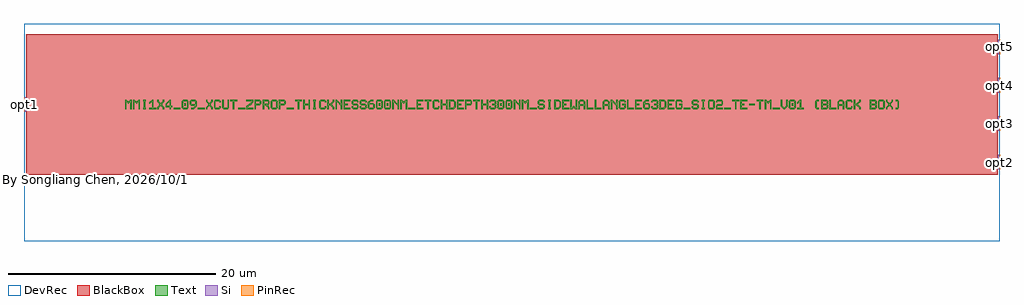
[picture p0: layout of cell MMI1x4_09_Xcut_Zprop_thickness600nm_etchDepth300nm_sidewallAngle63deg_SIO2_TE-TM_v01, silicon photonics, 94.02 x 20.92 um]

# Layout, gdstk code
import gdstk
lib = gdstk.Library(unit=1e-6, precision=1e-10)
def R(c, l, rs):  # rectangles x0, y0, x1, y1
    for r in rs: c.add(gdstk.rectangle(r[:2], r[2:], *l))
def A(c, l, x, y, w, h, nx, ny, dx, dy):  # array of equal rectangles
    R(c, l, [(x+i*dx, y+j*dy, x+i*dx+w, y+j*dy+h) for i in range(nx) for j in range(ny)])
def P(c, l, *ps):  # polygons
    for p in ps: c.add(gdstk.Polygon(p, *l))
Si = (1, 0)
PinRec = (1, 10)
Text = (10, 0)
DevRec = (68, 0)
BlackBox = (998, 0)

text = lib.new_cell('TEXT')
A(text, Text, 15.6, 0, 0.65, 0.13, 3, 1, 11.7, 0)
R(text, Text, [(4.68,0,5.33,0.13), (7.02,0,7.67,0.13), (10.92,0,11.57,0.13), (53.82,0,54.47,0.13), (57.72,0,58.37,0.13), (62.4,0,63.05,0.13), (5.72,0.325,5.85,0.585), (24.44,0.325,24.57,0.585), (25.22,0.325,25.35,0.585), (36.14,0.325,36.27,0.585), (36.92,0.325,37.05,0.585), (64.22,0.325,64.35,0.585), (60.125,0.39,60.645,0.52)])
P(text, Text, [(0,0),(0,0.91),(0.13,0.91),(0.26,0.78),(0.39,0.78),(0.52,0.91),(0.65,0.91),(0.65,0),(0.52,0),(0.52,0.65),(0.455,0.65),(0.325,0.52),(0.195,0.65),(0.13,0.65),(0.13,0)],
  [(0.78,0),(0.78,0.91),(0.91,0.91),(1.04,0.78),(1.17,0.78),(1.3,0.91),(1.43,0.91),(1.43,0),(1.3,0),(1.3,0.65),(1.235,0.65),(1.105,0.52),(0.975,0.65),(0.91,0.65),(0.91,0)],
  [(1.755,0),(1.755,0.13),(1.82,0.13),(1.82,0.78),(1.755,0.78),(1.755,0.91),(2.015,0.91),(2.015,0.78),(1.95,0.78),(1.95,0.13),(2.015,0.13),(2.015,0)],
  [(2.34,0),(2.34,0.13),(2.6,0.13),(2.6,0.65),(2.535,0.65),(2.405,0.52),(2.34,0.52),(2.34,0.65),(2.6,0.91),(2.73,0.91),(2.73,0.13),(2.99,0.13),(2.99,0)],
  [(3.12,0),(3.12,0.195),(3.315,0.39),(3.315,0.52),(3.12,0.715),(3.12,0.91),(3.25,0.91),(3.25,0.78),(3.445,0.585),(3.64,0.78),(3.64,0.91),(3.77,0.91),(3.77,0.715),(3.575,0.52),(3.575,0.39),(3.77,0.195),(3.77,0),(3.64,0),(3.64,0.13),(3.445,0.325),(3.25,0.13),(3.25,0)],
  [(4.29,0),(4.29,0.195),(3.9,0.195),(3.9,0.325),(4.29,0.325),(4.29,0.65),(4.225,0.65),(4.03,0.455),(4.03,0.325),(3.9,0.325),(3.9,0.52),(4.29,0.91),(4.42,0.91),(4.42,0.325),(4.55,0.325),(4.55,0.195),(4.42,0.195),(4.42,0)],
  [(5.59,0),(5.46,0.13),(5.46,0.78),(5.59,0.91),(5.98,0.91),(6.11,0.78),(5.655,0.78),(5.59,0.715),(5.59,0.195),(5.655,0.13),(5.915,0.13),(5.98,0.195),(5.98,0.715),(5.915,0.78),(6.11,0.78),(6.11,0.13),(5.98,0)],
  [(6.37,0),(6.37,0.13),(6.565,0.13),(6.695,0.26),(6.695,0.325),(6.37,0.325),(6.24,0.455),(6.695,0.455),(6.76,0.52),(6.76,0.715),(6.695,0.78),(6.435,0.78),(6.37,0.715),(6.37,0.52),(6.435,0.455),(6.24,0.455),(6.24,0.78),(6.37,0.91),(6.76,0.91),(6.89,0.78),(6.89,0.26),(6.63,0)],
  [(7.8,0),(7.8,0.195),(7.995,0.39),(7.995,0.52),(7.8,0.715),(7.8,0.91),(7.93,0.91),(7.93,0.78),(8.125,0.585),(8.32,0.78),(8.32,0.91),(8.45,0.91),(8.45,0.715),(8.255,0.52),(8.255,0.39),(8.45,0.195),(8.45,0),(8.32,0),(8.32,0.13),(8.125,0.325),(7.93,0.13),(7.93,0)],
  [(8.71,0),(8.58,0.13),(8.58,0.78),(8.71,0.91),(9.1,0.91),(9.23,0.78),(9.23,0.65),(9.1,0.65),(9.1,0.715),(9.035,0.78),(8.775,0.78),(8.71,0.715),(8.71,0.195),(8.775,0.13),(9.035,0.13),(9.1,0.195),(9.1,0.26),(9.23,0.26),(9.23,0.13),(9.1,0)],
  [(9.49,0),(9.36,0.13),(9.36,0.91),(9.49,0.91),(9.49,0.195),(9.555,0.13),(9.815,0.13),(9.88,0.195),(9.88,0.91),(10.01,0.91),(10.01,0.13),(9.88,0)],
  [(10.4,0),(10.4,0.78),(10.14,0.78),(10.14,0.91),(10.79,0.91),(10.79,0.78),(10.53,0.78),(10.53,0)],
  [(11.7,0),(11.7,0.26),(11.96,0.52),(12.025,0.52),(12.22,0.715),(12.22,0.78),(11.7,0.78),(11.7,0.91),(12.35,0.91),(12.35,0.65),(12.09,0.39),(12.025,0.39),(11.83,0.195),(11.83,0.13),(12.35,0.13),(12.35,0)],
  [(12.48,0),(12.48,0.91),(13,0.91),(13.13,0.78),(13.13,0.52),(13,0.39),(12.61,0.39),(12.61,0.52),(12.935,0.52),(13,0.585),(13,0.715),(12.935,0.78),(12.61,0.78),(12.61,0)],
  [(13.26,0),(13.26,0.91),(13.78,0.91),(13.91,0.78),(13.39,0.78),(13.39,0.52),(13.715,0.52),(13.78,0.585),(13.78,0.715),(13.715,0.78),(13.91,0.78),(13.91,0.52),(13.78,0.39),(13.78,0.325),(13.91,0.195),(13.91,0),(13.78,0),(13.78,0.13),(13.52,0.39),(13.39,0.39),(13.39,0)],
  [(14.17,0),(14.04,0.13),(14.04,0.78),(14.17,0.91),(14.56,0.91),(14.69,0.78),(14.69,0.455),(14.56,0.455),(14.56,0.715),(14.495,0.78),(14.235,0.78),(14.17,0.715),(14.17,0.195),(14.235,0.13),(14.495,0.13),(14.56,0.195),(14.56,0.455),(14.69,0.455),(14.69,0.13),(14.56,0)],
  [(14.82,0),(14.82,0.91),(15.34,0.91),(15.47,0.78),(15.47,0.52),(15.34,0.39),(14.95,0.39),(14.95,0.52),(15.275,0.52),(15.34,0.585),(15.34,0.715),(15.275,0.78),(14.95,0.78),(14.95,0)],
  [(16.64,0),(16.64,0.78),(16.38,0.78),(16.38,0.91),(17.03,0.91),(17.03,0.78),(16.77,0.78),(16.77,0)],
  [(17.16,0),(17.16,0.91),(17.29,0.91),(17.29,0.52),(17.68,0.52),(17.68,0.91),(17.81,0.91),(17.81,0),(17.68,0),(17.68,0.39),(17.29,0.39),(17.29,0)],
  [(18.135,0),(18.135,0.13),(18.2,0.13),(18.2,0.78),(18.135,0.78),(18.135,0.91),(18.395,0.91),(18.395,0.78),(18.33,0.78),(18.33,0.13),(18.395,0.13),(18.395,0)],
  [(18.85,0),(18.72,0.13),(18.72,0.78),(18.85,0.91),(19.24,0.91),(19.37,0.78),(19.37,0.65),(19.24,0.65),(19.24,0.715),(19.175,0.78),(18.915,0.78),(18.85,0.715),(18.85,0.195),(18.915,0.13),(19.175,0.13),(19.24,0.195),(19.24,0.26),(19.37,0.26),(19.37,0.13),(19.24,0)],
  [(19.5,0),(19.5,0.91),(19.63,0.91),(19.63,0.52),(19.76,0.52),(20.02,0.78),(20.02,0.91),(20.15,0.91),(20.15,0.715),(19.89,0.455),(20.15,0.195),(20.15,0),(20.02,0),(20.02,0.13),(19.76,0.39),(19.63,0.39),(19.63,0)],
  [(20.28,0),(20.28,0.91),(20.41,0.91),(20.735,0.585),(20.8,0.585),(20.8,0.91),(20.93,0.91),(20.93,0),(20.8,0),(20.8,0.325),(20.475,0.65),(20.41,0.65),(20.41,0)],
  [(21.06,0),(21.06,0.91),(21.71,0.91),(21.71,0.78),(21.19,0.78),(21.19,0.52),(21.45,0.52),(21.45,0.39),(21.19,0.39),(21.19,0.13),(21.71,0.13),(21.71,0)],
  [(21.97,0),(21.84,0.13),(21.84,0.26),(21.97,0.26),(21.97,0.195),(22.035,0.13),(22.295,0.13),(22.36,0.195),(22.36,0.325),(22.295,0.39),(21.97,0.39),(21.84,0.52),(21.84,0.78),(21.97,0.91),(22.36,0.91),(22.49,0.78),(22.49,0.65),(22.36,0.65),(22.36,0.715),(22.295,0.78),(22.035,0.78),(21.97,0.715),(21.97,0.585),(22.035,0.52),(22.36,0.52),(22.49,0.39),(22.49,0.13),(22.36,0)],
  [(22.75,0),(22.62,0.13),(22.62,0.26),(22.75,0.26),(22.75,0.195),(22.815,0.13),(23.075,0.13),(23.14,0.195),(23.14,0.325),(23.075,0.39),(22.75,0.39),(22.62,0.52),(22.62,0.78),(22.75,0.91),(23.14,0.91),(23.27,0.78),(23.27,0.65),(23.14,0.65),(23.14,0.715),(23.075,0.78),(22.815,0.78),(22.75,0.715),(22.75,0.585),(22.815,0.52),(23.14,0.52),(23.27,0.39),(23.27,0.13),(23.14,0)],
  [(23.53,0),(23.4,0.13),(23.4,0.65),(23.66,0.91),(23.92,0.91),(23.92,0.78),(23.725,0.78),(23.595,0.65),(23.595,0.585),(23.92,0.585),(24.05,0.455),(23.595,0.455),(23.53,0.39),(23.53,0.195),(23.595,0.13),(23.855,0.13),(23.92,0.195),(23.92,0.39),(23.855,0.455),(24.05,0.455),(24.05,0.13),(23.92,0)],
  [(24.31,0),(24.18,0.13),(24.18,0.78),(24.31,0.91),(24.7,0.91),(24.83,0.78),(24.375,0.78),(24.31,0.715),(24.31,0.195),(24.375,0.13),(24.635,0.13),(24.7,0.195),(24.7,0.715),(24.635,0.78),(24.83,0.78),(24.83,0.13),(24.7,0)],
  [(25.09,0),(24.96,0.13),(24.96,0.78),(25.09,0.91),(25.48,0.91),(25.61,0.78),(25.155,0.78),(25.09,0.715),(25.09,0.195),(25.155,0.13),(25.415,0.13),(25.48,0.195),(25.48,0.715),(25.415,0.78),(25.61,0.78),(25.61,0.13),(25.48,0)],
  [(25.74,0),(25.74,0.91),(25.87,0.91),(26.195,0.585),(26.26,0.585),(26.26,0.91),(26.39,0.91),(26.39,0),(26.26,0),(26.26,0.325),(25.935,0.65),(25.87,0.65),(25.87,0)],
  [(26.52,0),(26.52,0.91),(26.65,0.91),(26.78,0.78),(26.91,0.78),(27.04,0.91),(27.17,0.91),(27.17,0),(27.04,0),(27.04,0.65),(26.975,0.65),(26.845,0.52),(26.715,0.65),(26.65,0.65),(26.65,0)],
  [(28.08,0),(28.08,0.91),(28.73,0.91),(28.73,0.78),(28.21,0.78),(28.21,0.52),(28.47,0.52),(28.47,0.39),(28.21,0.39),(28.21,0.13),(28.73,0.13),(28.73,0)],
  [(29.12,0),(29.12,0.78),(28.86,0.78),(28.86,0.91),(29.51,0.91),(29.51,0.78),(29.25,0.78),(29.25,0)],
  [(29.77,0),(29.64,0.13),(29.64,0.78),(29.77,0.91),(30.16,0.91),(30.29,0.78),(30.29,0.65),(30.16,0.65),(30.16,0.715),(30.095,0.78),(29.835,0.78),(29.77,0.715),(29.77,0.195),(29.835,0.13),(30.095,0.13),(30.16,0.195),(30.16,0.26),(30.29,0.26),(30.29,0.13),(30.16,0)],
  [(30.42,0),(30.42,0.91),(30.55,0.91),(30.55,0.52),(30.94,0.52),(30.94,0.91),(31.07,0.91),(31.07,0),(30.94,0),(30.94,0.39),(30.55,0.39),(30.55,0)],
  [(31.2,0),(31.2,0.91),(31.655,0.91),(31.785,0.78),(31.33,0.78),(31.33,0.13),(31.59,0.13),(31.72,0.26),(31.72,0.65),(31.59,0.78),(31.785,0.78),(31.85,0.715),(31.85,0.195),(31.655,0)],
  [(31.98,0),(31.98,0.91),(32.63,0.91),(32.63,0.78),(32.11,0.78),(32.11,0.52),(32.37,0.52),(32.37,0.39),(32.11,0.39),(32.11,0.13),(32.63,0.13),(32.63,0)],
  [(32.76,0),(32.76,0.91),(33.28,0.91),(33.41,0.78),(33.41,0.52),(33.28,0.39),(32.89,0.39),(32.89,0.52),(33.215,0.52),(33.28,0.585),(33.28,0.715),(33.215,0.78),(32.89,0.78),(32.89,0)],
  [(33.8,0),(33.8,0.78),(33.54,0.78),(33.54,0.91),(34.19,0.91),(34.19,0.78),(33.93,0.78),(33.93,0)],
  [(34.32,0),(34.32,0.91),(34.45,0.91),(34.45,0.52),(34.84,0.52),(34.84,0.91),(34.97,0.91),(34.97,0),(34.84,0),(34.84,0.39),(34.45,0.39),(34.45,0)],
  [(35.23,0),(35.1,0.13),(35.1,0.26),(35.23,0.26),(35.23,0.195),(35.295,0.13),(35.555,0.13),(35.62,0.195),(35.62,0.325),(35.555,0.39),(35.36,0.39),(35.36,0.52),(35.555,0.52),(35.62,0.585),(35.62,0.715),(35.555,0.78),(35.295,0.78),(35.23,0.715),(35.23,0.65),(35.1,0.65),(35.1,0.78),(35.23,0.91),(35.62,0.91),(35.75,0.78),(35.75,0.52),(35.685,0.455),(35.75,0.39),(35.75,0.13),(35.62,0)],
  [(36.01,0),(35.88,0.13),(35.88,0.78),(36.01,0.91),(36.4,0.91),(36.53,0.78),(36.075,0.78),(36.01,0.715),(36.01,0.195),(36.075,0.13),(36.335,0.13),(36.4,0.195),(36.4,0.715),(36.335,0.78),(36.53,0.78),(36.53,0.13),(36.4,0)],
  [(36.79,0),(36.66,0.13),(36.66,0.78),(36.79,0.91),(37.18,0.91),(37.31,0.78),(36.855,0.78),(36.79,0.715),(36.79,0.195),(36.855,0.13),(37.115,0.13),(37.18,0.195),(37.18,0.715),(37.115,0.78),(37.31,0.78),(37.31,0.13),(37.18,0)],
  [(37.44,0),(37.44,0.91),(37.57,0.91),(37.895,0.585),(37.96,0.585),(37.96,0.91),(38.09,0.91),(38.09,0),(37.96,0),(37.96,0.325),(37.635,0.65),(37.57,0.65),(37.57,0)],
  [(38.22,0),(38.22,0.91),(38.35,0.91),(38.48,0.78),(38.61,0.78),(38.74,0.91),(38.87,0.91),(38.87,0),(38.74,0),(38.74,0.65),(38.675,0.65),(38.545,0.52),(38.415,0.65),(38.35,0.65),(38.35,0)],
  [(39.91,0),(39.78,0.13),(39.78,0.26),(39.91,0.26),(39.91,0.195),(39.975,0.13),(40.235,0.13),(40.3,0.195),(40.3,0.325),(40.235,0.39),(39.91,0.39),(39.78,0.52),(39.78,0.78),(39.91,0.91),(40.3,0.91),(40.43,0.78),(40.43,0.65),(40.3,0.65),(40.3,0.715),(40.235,0.78),(39.975,0.78),(39.91,0.715),(39.91,0.585),(39.975,0.52),(40.3,0.52),(40.43,0.39),(40.43,0.13),(40.3,0)],
  [(40.755,0),(40.755,0.13),(40.82,0.13),(40.82,0.78),(40.755,0.78),(40.755,0.91),(41.015,0.91),(41.015,0.78),(40.95,0.78),(40.95,0.13),(41.015,0.13),(41.015,0)],
  [(41.34,0),(41.34,0.91),(41.795,0.91),(41.925,0.78),(41.47,0.78),(41.47,0.13),(41.73,0.13),(41.86,0.26),(41.86,0.65),(41.73,0.78),(41.925,0.78),(41.99,0.715),(41.99,0.195),(41.795,0)],
  [(42.12,0),(42.12,0.91),(42.77,0.91),(42.77,0.78),(42.25,0.78),(42.25,0.52),(42.51,0.52),(42.51,0.39),(42.25,0.39),(42.25,0.13),(42.77,0.13),(42.77,0)],
  [(42.9,0),(42.9,0.91),(43.03,0.91),(43.03,0.195),(43.095,0.195),(43.225,0.325),(43.355,0.195),(43.42,0.195),(43.42,0.91),(43.55,0.91),(43.55,0),(43.355,0),(43.225,0.13),(43.095,0)],
  [(43.68,0),(43.68,0.715),(43.875,0.91),(44.135,0.91),(44.265,0.78),(43.94,0.78),(43.81,0.65),(43.81,0.455),(44.2,0.455),(44.2,0.65),(44.07,0.78),(44.265,0.78),(44.33,0.715),(44.33,0),(44.2,0),(44.2,0.325),(43.81,0.325),(43.81,0)],
  [(44.46,0),(44.46,0.91),(44.59,0.91),(44.59,0.13),(45.11,0.13),(45.11,0)],
  [(45.24,0),(45.24,0.91),(45.37,0.91),(45.37,0.13),(45.89,0.13),(45.89,0)],
  [(46.02,0),(46.02,0.715),(46.215,0.91),(46.475,0.91),(46.605,0.78),(46.28,0.78),(46.15,0.65),(46.15,0.455),(46.54,0.455),(46.54,0.65),(46.41,0.78),(46.605,0.78),(46.67,0.715),(46.67,0),(46.54,0),(46.54,0.325),(46.15,0.325),(46.15,0)],
  [(46.8,0),(46.8,0.91),(46.93,0.91),(47.255,0.585),(47.32,0.585),(47.32,0.91),(47.45,0.91),(47.45,0),(47.32,0),(47.32,0.325),(46.995,0.65),(46.93,0.65),(46.93,0)],
  [(47.71,0),(47.58,0.13),(47.58,0.78),(47.71,0.91),(48.1,0.91),(48.23,0.78),(48.23,0.65),(48.1,0.65),(48.1,0.715),(48.035,0.78),(47.775,0.78),(47.71,0.715),(47.71,0.195),(47.775,0.13),(48.035,0.13),(48.1,0.195),(48.1,0.39),(47.905,0.39),(47.905,0.52),(48.23,0.52),(48.23,0.13),(48.1,0)],
  [(48.36,0),(48.36,0.91),(48.49,0.91),(48.49,0.13),(49.01,0.13),(49.01,0)],
  [(49.14,0),(49.14,0.91),(49.79,0.91),(49.79,0.78),(49.27,0.78),(49.27,0.52),(49.53,0.52),(49.53,0.39),(49.27,0.39),(49.27,0.13),(49.79,0.13),(49.79,0)],
  [(50.05,0),(49.92,0.13),(49.92,0.65),(50.18,0.91),(50.44,0.91),(50.44,0.78),(50.245,0.78),(50.115,0.65),(50.115,0.585),(50.44,0.585),(50.57,0.455),(50.115,0.455),(50.05,0.39),(50.05,0.195),(50.115,0.13),(50.375,0.13),(50.44,0.195),(50.44,0.39),(50.375,0.455),(50.57,0.455),(50.57,0.13),(50.44,0)],
  [(50.83,0),(50.7,0.13),(50.7,0.26),(50.83,0.26),(50.83,0.195),(50.895,0.13),(51.155,0.13),(51.22,0.195),(51.22,0.325),(51.155,0.39),(50.96,0.39),(50.96,0.52),(51.155,0.52),(51.22,0.585),(51.22,0.715),(51.155,0.78),(50.895,0.78),(50.83,0.715),(50.83,0.65),(50.7,0.65),(50.7,0.78),(50.83,0.91),(51.22,0.91),(51.35,0.78),(51.35,0.52),(51.285,0.455),(51.35,0.39),(51.35,0.13),(51.22,0)],
  [(51.48,0),(51.48,0.91),(51.935,0.91),(52.065,0.78),(51.61,0.78),(51.61,0.13),(51.87,0.13),(52,0.26),(52,0.65),(51.87,0.78),(52.065,0.78),(52.13,0.715),(52.13,0.195),(51.935,0)],
  [(52.26,0),(52.26,0.91),(52.91,0.91),(52.91,0.78),(52.39,0.78),(52.39,0.52),(52.65,0.52),(52.65,0.39),(52.39,0.39),(52.39,0.13),(52.91,0.13),(52.91,0)],
  [(53.17,0),(53.04,0.13),(53.04,0.78),(53.17,0.91),(53.56,0.91),(53.69,0.78),(53.69,0.65),(53.56,0.65),(53.56,0.715),(53.495,0.78),(53.235,0.78),(53.17,0.715),(53.17,0.195),(53.235,0.13),(53.495,0.13),(53.56,0.195),(53.56,0.39),(53.365,0.39),(53.365,0.52),(53.69,0.52),(53.69,0.13),(53.56,0)],
  [(54.73,0),(54.6,0.13),(54.6,0.26),(54.73,0.26),(54.73,0.195),(54.795,0.13),(55.055,0.13),(55.12,0.195),(55.12,0.325),(55.055,0.39),(54.73,0.39),(54.6,0.52),(54.6,0.78),(54.73,0.91),(55.12,0.91),(55.25,0.78),(55.25,0.65),(55.12,0.65),(55.12,0.715),(55.055,0.78),(54.795,0.78),(54.73,0.715),(54.73,0.585),(54.795,0.52),(55.12,0.52),(55.25,0.39),(55.25,0.13),(55.12,0)],
  [(55.575,0),(55.575,0.13),(55.64,0.13),(55.64,0.78),(55.575,0.78),(55.575,0.91),(55.835,0.91),(55.835,0.78),(55.77,0.78),(55.77,0.13),(55.835,0.13),(55.835,0)],
  [(56.29,0),(56.16,0.13),(56.16,0.78),(56.29,0.91),(56.68,0.91),(56.81,0.78),(56.81,0.455),(56.68,0.455),(56.68,0.715),(56.615,0.78),(56.355,0.78),(56.29,0.715),(56.29,0.195),(56.355,0.13),(56.615,0.13),(56.68,0.195),(56.68,0.455),(56.81,0.455),(56.81,0.13),(56.68,0)],
  [(56.94,0),(56.94,0.325),(57.07,0.455),(57.395,0.455),(57.46,0.52),(57.46,0.715),(57.395,0.78),(57.135,0.78),(57.07,0.715),(57.07,0.65),(56.94,0.65),(56.94,0.78),(57.07,0.91),(57.46,0.91),(57.59,0.78),(57.59,0.455),(57.46,0.325),(57.135,0.325),(57.07,0.26),(57.07,0.13),(57.59,0.13),(57.59,0)],
  [(58.76,0),(58.76,0.78),(58.5,0.78),(58.5,0.91),(59.15,0.91),(59.15,0.78),(58.89,0.78),(58.89,0)],
  [(59.28,0),(59.28,0.91),(59.93,0.91),(59.93,0.78),(59.41,0.78),(59.41,0.52),(59.67,0.52),(59.67,0.39),(59.41,0.39),(59.41,0.13),(59.93,0.13),(59.93,0)],
  [(61.1,0),(61.1,0.78),(60.84,0.78),(60.84,0.91),(61.49,0.91),(61.49,0.78),(61.23,0.78),(61.23,0)],
  [(61.62,0),(61.62,0.91),(61.75,0.91),(61.88,0.78),(62.01,0.78),(62.14,0.91),(62.27,0.91),(62.27,0),(62.14,0),(62.14,0.65),(62.075,0.65),(61.945,0.52),(61.815,0.65),(61.75,0.65),(61.75,0)],
  [(63.44,0),(63.18,0.26),(63.18,0.91),(63.31,0.91),(63.31,0.325),(63.505,0.13),(63.7,0.325),(63.7,0.91),(63.83,0.91),(63.83,0.26),(63.57,0)],
  [(64.09,0),(63.96,0.13),(63.96,0.78),(64.09,0.91),(64.48,0.91),(64.61,0.78),(64.155,0.78),(64.09,0.715),(64.09,0.195),(64.155,0.13),(64.415,0.13),(64.48,0.195),(64.48,0.715),(64.415,0.78),(64.61,0.78),(64.61,0.13),(64.48,0)],
  [(64.74,0),(64.74,0.13),(65,0.13),(65,0.65),(64.935,0.65),(64.805,0.52),(64.74,0.52),(64.74,0.65),(65,0.91),(65.13,0.91),(65.13,0.13),(65.39,0.13),(65.39,0)],
  [(66.625,0),(66.495,0.13),(66.495,0.78),(66.625,0.91),(66.82,0.91),(66.82,0.78),(66.69,0.78),(66.625,0.715),(66.625,0.195),(66.69,0.13),(66.82,0.13),(66.82,0)],
  [(67.08,0),(67.08,0.91),(67.6,0.91),(67.73,0.78),(67.21,0.78),(67.21,0.52),(67.535,0.52),(67.6,0.585),(67.6,0.715),(67.535,0.78),(67.73,0.78),(67.73,0.52),(67.665,0.455),(67.73,0.39),(67.21,0.39),(67.21,0.13),(67.535,0.13),(67.6,0.195),(67.6,0.325),(67.535,0.39),(67.73,0.39),(67.73,0.13),(67.6,0)],
  [(67.86,0),(67.86,0.91),(67.99,0.91),(67.99,0.13),(68.51,0.13),(68.51,0)],
  [(68.64,0),(68.64,0.715),(68.835,0.91),(69.095,0.91),(69.225,0.78),(68.9,0.78),(68.77,0.65),(68.77,0.455),(69.16,0.455),(69.16,0.65),(69.03,0.78),(69.225,0.78),(69.29,0.715),(69.29,0),(69.16,0),(69.16,0.325),(68.77,0.325),(68.77,0)],
  [(69.55,0),(69.42,0.13),(69.42,0.78),(69.55,0.91),(69.94,0.91),(70.07,0.78),(70.07,0.65),(69.94,0.65),(69.94,0.715),(69.875,0.78),(69.615,0.78),(69.55,0.715),(69.55,0.195),(69.615,0.13),(69.875,0.13),(69.94,0.195),(69.94,0.26),(70.07,0.26),(70.07,0.13),(69.94,0)],
  [(70.2,0),(70.2,0.91),(70.33,0.91),(70.33,0.52),(70.46,0.52),(70.72,0.78),(70.72,0.91),(70.85,0.91),(70.85,0.715),(70.59,0.455),(70.85,0.195),(70.85,0),(70.72,0),(70.72,0.13),(70.46,0.39),(70.33,0.39),(70.33,0)],
  [(71.76,0),(71.76,0.91),(72.28,0.91),(72.41,0.78),(71.89,0.78),(71.89,0.52),(72.215,0.52),(72.28,0.585),(72.28,0.715),(72.215,0.78),(72.41,0.78),(72.41,0.52),(72.345,0.455),(72.41,0.39),(71.89,0.39),(71.89,0.13),(72.215,0.13),(72.28,0.195),(72.28,0.325),(72.215,0.39),(72.41,0.39),(72.41,0.13),(72.28,0)],
  [(72.67,0),(72.54,0.13),(72.54,0.78),(72.67,0.91),(73.06,0.91),(73.19,0.78),(73.19,0.455),(73.06,0.455),(73.06,0.715),(72.995,0.78),(72.735,0.78),(72.67,0.715),(72.67,0.195),(72.735,0.13),(72.995,0.13),(73.06,0.195),(73.06,0.455),(73.19,0.455),(73.19,0.13),(73.06,0)],
  [(73.32,0),(73.32,0.195),(73.515,0.39),(73.515,0.52),(73.32,0.715),(73.32,0.91),(73.45,0.91),(73.45,0.78),(73.645,0.585),(73.84,0.78),(73.84,0.91),(73.97,0.91),(73.97,0.715),(73.775,0.52),(73.775,0.39),(73.97,0.195),(73.97,0),(73.84,0),(73.84,0.13),(73.645,0.325),(73.45,0.13),(73.45,0)],
  [(74.23,0),(74.23,0.13),(74.36,0.13),(74.425,0.195),(74.425,0.715),(74.36,0.78),(74.23,0.78),(74.23,0.91),(74.425,0.91),(74.555,0.78),(74.555,0.13),(74.425,0)])

mmi1x4_09_xcut_zprop_thi = lib.new_cell('MMI1x4_09_Xcut_Zprop_thickness600nm_etchDepth300nm_sidewallAngle63deg_SIO2_TE-TM_v01')
R(mmi1x4_09_xcut_zprop_thi, Si, [(46.8,-6.2586,47,-4.8586), (46.8,-2.5529,47,-1.1529), (-47,-0.7,-46.8,0.7), (46.8,1.1529,47,2.5529), (46.8,4.8586,47,6.2586)])
R(mmi1x4_09_xcut_zprop_thi, DevRec, [(-47,-13.1586,47,7.7586)])
R(mmi1x4_09_xcut_zprop_thi, BlackBox, [(-46.8,-6.7586,46.8,6.7586)])
mmi1x4_09_xcut_zprop_thi.add(gdstk.FlexPath([(-46.99,0),(-47.01,0)], 1.4, ends="flush", simple_path=True, layer=1, datatype=10))  # PinRec
mmi1x4_09_xcut_zprop_thi.add(gdstk.FlexPath([(46.99,-5.5586),(47.01,-5.5586)], 1.4, ends="flush", simple_path=True, layer=1, datatype=10))  # PinRec
mmi1x4_09_xcut_zprop_thi.add(gdstk.FlexPath([(46.99,-1.8529),(47.01,-1.8529)], 1.4, ends="flush", simple_path=True, layer=1, datatype=10))  # PinRec
mmi1x4_09_xcut_zprop_thi.add(gdstk.FlexPath([(46.99,1.8529),(47.01,1.8529)], 1.4, ends="flush", simple_path=True, layer=1, datatype=10))  # PinRec
mmi1x4_09_xcut_zprop_thi.add(gdstk.FlexPath([(46.99,5.5586),(47.01,5.5586)], 1.4, ends="flush", simple_path=True, layer=1, datatype=10))  # PinRec
mmi1x4_09_xcut_zprop_thi.add(gdstk.Reference(text, (-37.2775,-0.455)))
mmi1x4_09_xcut_zprop_thi.add(gdstk.Label('opt1', (-47,0), layer=1, texttype=10))
mmi1x4_09_xcut_zprop_thi.add(gdstk.Label('opt2', (47,-5.5586), layer=1, texttype=10))
mmi1x4_09_xcut_zprop_thi.add(gdstk.Label('opt3', (47,-1.8529), layer=1, texttype=10))
mmi1x4_09_xcut_zprop_thi.add(gdstk.Label('opt4', (47,1.8529), layer=1, texttype=10))
mmi1x4_09_xcut_zprop_thi.add(gdstk.Label('opt5', (47,5.5586), layer=1, texttype=10))
mmi1x4_09_xcut_zprop_thi.add(gdstk.Label('By Songliang Chen, 2026/10/13', (-46.5,-7.2586), layer=10, texttype=0))

lib.write_gds('MMI1x4_09_Xcut_Zprop_thickness600nm_etchDepth300nm_sidewallAngle63deg_SIO2_TE-TM_v01.gds')
